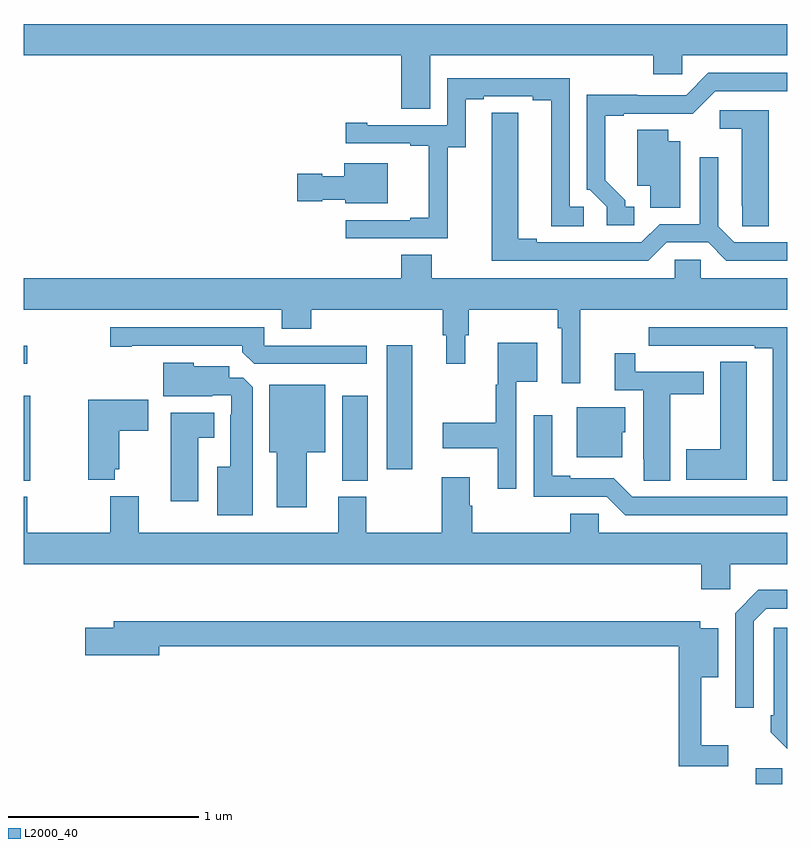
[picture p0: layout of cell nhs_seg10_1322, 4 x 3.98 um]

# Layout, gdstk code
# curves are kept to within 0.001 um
import gdstk
lib = gdstk.Library(unit=1e-6, precision=1e-09)
def R(c, l, rs):  # rectangles x0, y0, x1, y1
    for r in rs: c.add(gdstk.rectangle(r[:2], r[2:], *l))
def P(c, l, *ps):  # polygons
    for p in ps: c.add(gdstk.Polygon(p, *l))
L2000_40 = (2000, 40)

nhs_seg10_1322 = lib.new_cell('nhs_seg10_1322')
R(nhs_seg10_1322, L2000_40, [(182.834,1296.5,182.973,1296.582), (179,1298.089,179.034,1298.533), (180.668,1298.089,180.802,1298.533), (180.902,1298.148,181.036,1298.797), (179,1298.7,179.02,1298.796)])
P(nhs_seg10_1322, L2000_40, [(181.129,1300.316),(182.297,1300.316),(182.297,1300.218),(182.448,1300.218),(182.448,1300.316),(183,1300.316),(183,1300.48),(179,1300.48),(179,1300.316),(180.977,1300.316),(180.977,1300.036),(181.129,1300.036)],
  [(182.197,1299.522),(182.152,1299.522),(182.152,1299.557),(182.047,1299.662),(182.047,1299.999),(182.143,1299.999),(182.143,1300.011),(182.504,1300.01),(182.622,1300.128),(183,1300.128),(183,1300.224),(182.586,1300.224),(182.469,1300.107),(182.213,1300.107),(182.213,1300.109),(181.95,1300.109),(181.95,1299.612),(181.965,1299.612),(182.055,1299.522),(182.055,1299.426),(182.197,1299.426)],
  [(181.221,1299.835),(181.315,1299.835),(181.315,1300.086),(181.411,1300.086),(181.411,1300.101),(181.667,1300.101),(181.667,1300.081),(181.763,1300.081),(181.763,1299.421),(181.933,1299.421),(181.933,1299.522),(181.86,1299.522),(181.86,1300.197),(181.218,1300.197),(181.218,1299.951),(180.799,1299.951),(180.799,1299.964),(180.687,1299.964),(180.687,1299.855),(181.025,1299.855),(181.025,1299.843),(181.121,1299.843),(181.121,1299.466),(181.025,1299.466),(181.025,1299.453),(180.687,1299.453),(180.687,1299.357),(181.221,1299.357)],
  [(182.902,1300.029),(182.646,1300.029),(182.646,1299.932),(182.762,1299.932),(182.762,1299.529),(182.763,1299.529),(182.763,1299.421),(182.902,1299.421)],
  [(182.367,1299.336),(182.585,1299.336),(182.681,1299.24),(183,1299.24),(183,1299.336),(182.721,1299.336),(182.637,1299.42),(182.637,1299.781),(182.541,1299.781),(182.541,1299.432),(182.331,1299.432),(182.235,1299.336),(181.687,1299.336),(181.687,1299.356),(181.591,1299.356),(181.591,1300.016),(181.452,1300.016),(181.451,1299.24),(182.271,1299.24)],
  [(182.44,1299.865),(182.377,1299.865),(182.377,1299.926),(182.213,1299.926),(182.213,1299.632),(182.282,1299.632),(182.282,1299.517),(182.44,1299.517)],
  [(180.907,1299.751),(180.68,1299.751),(180.68,1299.682),(180.564,1299.682),(180.564,1299.695),(180.432,1299.695),(180.432,1299.553),(180.564,1299.553),(180.564,1299.56),(180.684,1299.56),(180.684,1299.542),(180.907,1299.542)],
  [(181.916,1298.984),(183,1298.984),(183,1299.148),(182.547,1299.148),(182.547,1299.246),(182.409,1299.246),(182.409,1299.148),(181.137,1299.148),(181.137,1299.272),(180.977,1299.272),(180.977,1299.148),(179,1299.148),(179,1298.984),(180.353,1298.984),(180.353,1298.885),(180.506,1298.885),(180.506,1298.984),(181.195,1298.984),(181.195,1298.85),(181.214,1298.85),(181.214,1298.7),(181.312,1298.7),(181.312,1298.85),(181.331,1298.85),(181.331,1298.984),(181.798,1298.984),(181.798,1298.888),(181.818,1298.888),(181.818,1298.598),(181.916,1298.598)],
  [(183,1298.892),(182.274,1298.892),(182.274,1298.796),(182.386,1298.796),(182.386,1298.795),(182.552,1298.795),(182.552,1298.796),(182.828,1298.796),(182.828,1298.781),(182.924,1298.781),(182.924,1298.089),(183,1298.089)],
  [(180.796,1298.796),(180.261,1298.796),(180.261,1298.892),(179.454,1298.892),(179.454,1298.791),(179.566,1298.791),(179.566,1298.796),(180.146,1298.796),(180.146,1298.762),(180.207,1298.7),(180.796,1298.7)],
  [(181.581,1298.606),(181.69,1298.606),(181.69,1298.812),(181.484,1298.812),(181.484,1298.592),(181.473,1298.592),(181.473,1298.393),(181.194,1298.393),(181.194,1298.258),(181.484,1298.258),(181.484,1298.046),(181.581,1298.046)],
  [(182.386,1298.542),(182.563,1298.542),(182.563,1298.658),(182.204,1298.658),(182.204,1298.755),(182.096,1298.755),(182.096,1298.562),(182.246,1298.562),(182.246,1298.2),(182.247,1298.2),(182.247,1298.089),(182.386,1298.089)],
  [(182.788,1298.603),(182.787,1298.603),(182.787,1298.711),(182.648,1298.711),(182.648,1298.253),(182.471,1298.253),(182.471,1298.093),(182.788,1298.093)],
  [(180.199,1298.579),(180.15,1298.628),(180.076,1298.628),(180.076,1298.689),(179.892,1298.689),(179.892,1298.707),(179.732,1298.707),(179.732,1298.531),(179.987,1298.531),(179.987,1298.535),(180.087,1298.535),(180.087,1298.435),(180.083,1298.435),(180.083,1298.161),(180.014,1298.161),(180.014,1297.907),(180.199,1297.907)],
  [(180.484,1298.237),(180.58,1298.237),(180.58,1298.59),(180.287,1298.59),(180.287,1298.237),(180.326,1298.237),(180.326,1297.95),(180.484,1297.95)],
  [(179.478,1298.147),(179.5,1298.147),(179.5,1298.35),(179.653,1298.35),(179.653,1298.512),(179.338,1298.512),(179.338,1298.093),(179.478,1298.093)],
  [(182.134,1298.343),(182.152,1298.343),(182.152,1298.473),(181.898,1298.473),(181.898,1298.21),(182.134,1298.21)],
  [(179.914,1298.312),(179.998,1298.312),(179.998,1298.443),(179.771,1298.443),(179.771,1297.98),(179.914,1297.98)],
  [(183,1298.004),(182.187,1298.004),(182.091,1298.1),(181.864,1298.1),(181.864,1298.113),(181.768,1298.113),(181.768,1298.431),(181.671,1298.431),(181.671,1298.004),(182.055,1298.004),(182.151,1297.908),(183,1297.908)],
  [(182.7,1297.652),(183,1297.652),(183,1297.816),(182.013,1297.816),(182.013,1297.914),(181.862,1297.914),(181.862,1297.816),(181.349,1297.816),(181.349,1297.958),(181.336,1297.958),(181.336,1298.107),(181.189,1298.107),(181.189,1297.816),(180.795,1297.816),(180.795,1298.004),(180.647,1298.004),(180.647,1297.816),(179.602,1297.816),(179.602,1298.008),(179.455,1298.008),(179.455,1297.816),(179.019,1297.816),(179.019,1298.004),(179,1298.004),(179,1297.652),(182.549,1297.652),(182.549,1297.521),(182.7,1297.521)],
  [(182.823,1297.353),(182.889,1297.419),(183,1297.419),(183,1297.516),(182.848,1297.516),(182.727,1297.395),(182.727,1296.9),(182.823,1296.9)],
  [(182.689,1296.703),(182.549,1296.703),(182.549,1297.058),(182.638,1297.058),(182.638,1297.315),(182.544,1297.315),(182.544,1297.351),(179.471,1297.351),(179.471,1297.317),(179.322,1297.317),(179.322,1297.175),(179.71,1297.175),(179.71,1297.222),(182.431,1297.222),(182.431,1296.594),(182.689,1296.594)],
  [(183,1297.317),(182.928,1297.317),(182.928,1296.859),(182.913,1296.859),(182.913,1296.771),(183,1296.684)])

lib.write_gds('nhs_seg10_1322.gds')
